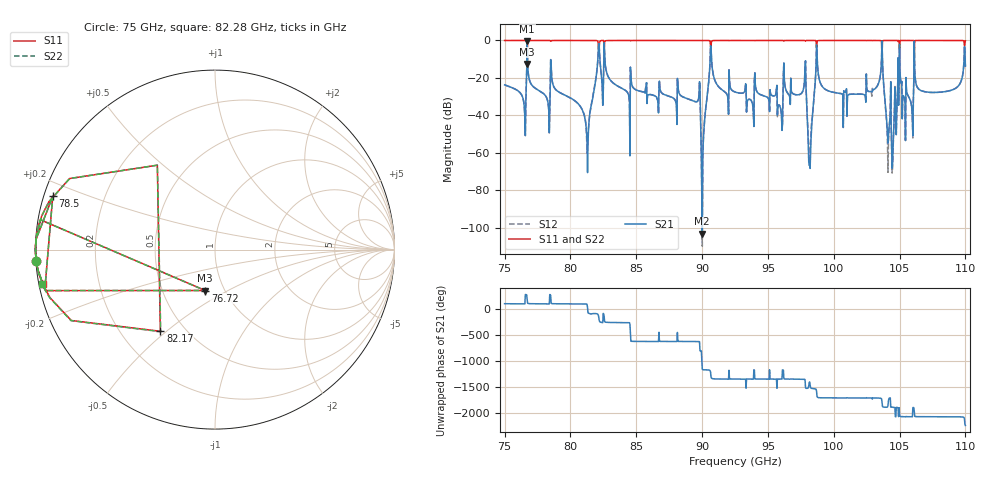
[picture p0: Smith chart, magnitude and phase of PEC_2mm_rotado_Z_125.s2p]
! TOUCHSTONE file generated by CST MICROWAVE STUDIO
! Date and time: Fri Feb 16 17:58:32 2024
! Project name: metal_rotado.cst
! Parameters = {angX=1.25; angY=2}
! Header version: 2018
! Port assignment regex: !\s*Touchstone port\s*([0-9]+)\s*=\s*(CST MWS port|CST DS port)\s*([0-9]+|Zmin|Zmax)\s*\(\"(.*)\"\)(\s*mode\s*([0-9]+))?.*
! Touchstone port assignment:
! Touchstone port 1 = CST MWS port 1 ("")
! Touchstone port 2 = CST MWS port 2 ("")
# GHz S MA R 376.7
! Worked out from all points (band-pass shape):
!   1001 points, 75 GHz to 110 GHz, reference 376.7 ohm
!   highest |S21| = -0.24 dB at 76.72 GHz (marker M1); lowest = -103.2 dB at 90.02 GHz (marker M2)
!   |S21| within 3 dB of the highest: 82.13034 GHz to 82.18589 GHz (55.56 MHz wide, 0.0676 % of centre); 90.64287 GHz to 90.68019 GHz (37.32 MHz wide, 0.0412 % of centre)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
!   lowest |S11| = -12.6 dB at 76.72 GHz (marker M3), VSWR 1.61, Z = 306 - j148 ohm
!   |S11| at or under -10 dB: 76.7077 GHz to 76.72238 GHz (14.68 MHz wide, 0.0191 % of centre); 103.6626 GHz to 103.6674 GHz (4.841 MHz wide, 0.00467 % of centre); 106.1132 GHz to 106.1168 GHz (3.568 MHz wide, 0.00336 % of centre)
!   |S22| runs from -12.6 to 0.0 dB; largest |S21 - S12| = 0.02
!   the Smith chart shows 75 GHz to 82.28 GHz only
!   S11 on the Smith chart (normalised r, x): 75 GHz: 0.00, -0.03; 76.72 GHz: 0.81, -0.39; 78.5 GHz: 0.03, +0.16; 82.17 GHz: 0.37, -0.48; 82.28 GHz: 0.01, -0.10
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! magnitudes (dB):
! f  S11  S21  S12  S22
! 75 GHz  0.0  -23.7  -23.7  0.0
! 76.72 GHz  -12.6  -0.2  -0.2  -12.6
! 78.5 GHz  -0.4  -10.2  -10.2  -0.4
! 80.84 GHz  0.0  -36.3  -36.3  0.0
! 81.33 GHz  0.0  -54.6  -51.0  0.0
! 82.17 GHz  -5.2  -1.6  -1.5  -5.2
! 82.28 GHz  -0.2  -13.8  -13.9  -0.1
! 86.69 GHz  0.0  -38.7  -38.7  0.0
! 89.67 GHz  0.0  -32.3  -32.3  0.0
! 90.02 GHz  0.0  -103.2  -109.8  0.0
! 90.68 GHz  -2.8  -3.2  -3.2  -2.8
! 92.5 GHz  0.0  -27.5  -27.5  0.0
! 97.72 GHz  0.0  -25.3  -25.3  0.0
! 98.14 GHz  0.0  -66.6  -64.8  0.0
! 98.34 GHz  0.0  -43.7  -42.1  0.0
! 98.77 GHz  -0.2  -13.0  -13.0  -0.2
! 103.6 GHz  -0.1  -14.9  -14.8  -0.1
! 104.2 GHz  0.0  -47.3  -48.9  0.0
! 104.6 GHz  0.0  -44.1  -44.1  0.0
! 105 GHz  -4.2  -2.1  -2.1  -4.1
! 105.9 GHz  0.0  -33.4  -33.4  0.0
! 110 GHz  -0.2  -13.7  -13.8  -0.2
